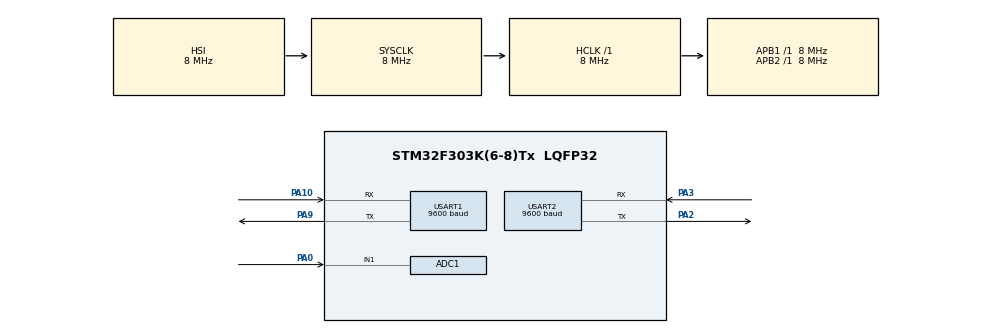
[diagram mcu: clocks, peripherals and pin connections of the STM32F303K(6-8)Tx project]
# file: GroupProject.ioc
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ADC1.ContinuousConvMode=ENABLE
ADC1.NbrOfConversionFlag=1
ADC1.SamplingTimeOPAMP-0\#ChannelRegularConversion=ADC_SAMPLETIME_4CYCLES_5
ADC1.SubFamily=STM32F303x8
ADC1.master=1
Mcu.Family=STM32F3
Mcu.Name=STM32F303K(6-8)Tx
Mcu.Package=LQFP32
NVIC.PriorityGroup=NVIC_PRIORITYGROUP_4
NVIC.RTC_WKUP_IRQn=true\:0\:0\:false\:false\:true\:true\:true\:true
PA0.Signal=SharedAnalog_PA0
PA10.Mode=Asynchronous
PA10.Signal=USART1_RX
PA2.Mode=Asynchronous
PA2.Signal=USART2_TX
PA3.Mode=Asynchronous
PA3.Signal=USART2_RX
PA9.Mode=Asynchronous
PA9.Signal=USART1_TX
ProjectManager.HeapSize=0x200
ProjectManager.StackSize=0x400
ProjectManager.TargetToolchain=STM32CubeIDE
RCC.AHBFreq_Value=8000000
RCC.APB1Freq_Value=8000000
RCC.APB2Freq_Value=8000000
RCC.CortexFreq_Value=8000000
RCC.HSE_VALUE=8000000
RCC.HSI_VALUE=8000000
RCC.PLLMUL=RCC_PLL_MUL4
RCC.SYSCLKFreq_VALUE=8000000
RTC.SynchPrediv=311
RTC.WakeUpCounter=5
SH.SharedAnalog_PA0.0=GPIO_Analog
SH.SharedAnalog_PA0.1=ADC1_IN1,IN1-Single-Ended
USART1.BaudRate=9600
USART1.VirtualMode-Asynchronous=VM_ASYNC
USART2.BaudRate=9600
USART2.VirtualMode-Asynchronous=VM_ASYNC
VP_RTC_VS_RTC_Activate.Mode=RTC_Enabled
VP_RTC_VS_RTC_WakeUp_intern.Mode=WakeUp
board=custom

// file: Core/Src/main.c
/* USER CODE BEGIN Header */
/**
  ******************************************************************************
  * @file           : main.c
  * @brief          : Main program body
  ******************************************************************************
  * @attention
  *
  * Copyright (c) 2024 STMicroelectronics.
  * All rights reserved.
  *
  * This software is licensed under terms that can be found in the LICENSE file
  * in the root directory of this software component.
  * If no LICENSE file comes with this software, it is provided AS-IS.
  *
  ******************************************************************************
  */
/* USER CODE END Header */
#include "main.h"

ADC_HandleTypeDef hadc1;

RTC_HandleTypeDef hrtc;

UART_HandleTypeDef huart1;
UART_HandleTypeDef huart2;

float GAS_ALARM_THRESHOLD_MULTIPLIER = 1.5f;
const char* GAS_ALARM_MESSAGE = "⚠GAS⚠\r\n";
const int WAKEUP_TIMER_SECONDS = 60;

/* USER CODE BEGIN PV */

void print_to_console(const char* message) {
    HAL_UART_Transmit(&huart2, (uint8_t*)message, strlen(message), HAL_MAX_DELAY);
}

void transmit(const char* message) {
    HAL_UART_Transmit(&huart1, (uint8_t*)message, strlen(message), HAL_MAX_DELAY);
}

/* USER CODE END PV */

void SystemClock_Config(void);
static void MX_GPIO_Init(void);
static void MX_ADC1_Init(void);
static void MX_USART2_UART_Init(void);
static void MX_USART1_UART_Init(void);
static void MX_RTC_Init(void);
static void Enter_Stop_Mode(void);

int main(void)
{

  /* MCU Configuration--------------------------------------------------------*/

  /* Reset of all peripherals, Initializes the Flash interface and the Systick. */
  HAL_Init();

  /* Configure the system clock */
  SystemClock_Config();

  /* Initialize all configured peripherals */
  MX_GPIO_Init();
  MX_ADC1_Init();
  MX_USART2_UART_Init();
  MX_USART1_UART_Init();

  /* USER CODE BEGIN 2 */
  HAL_ADC_Start(&hadc1);

  char str[100];
  int gas_level = 0;

  /* USER CODE END 2 */

  /* Infinite loop */
  /* USER CODE BEGIN WHILE */
  int sum_gas_measurements = 0;

  for (int i = 0; i < 100; i++){
	  if (HAL_ADC_PollForConversion(&hadc1, HAL_MAX_DELAY) == HAL_OK) {
		  gas_level = HAL_ADC_GetValue(&hadc1);
	  }

	  sum_gas_measurements += gas_level;

	  HAL_Delay(50);
  }

  int gas_level_baseline = sum_gas_measurements / 100;

  sprintf(str, "Baseline: %d\r\n", (int)(gas_level_baseline * GAS_ALARM_THRESHOLD_MULTIPLIER - gas_level_baseline));
  print_to_console(str);

  MX_RTC_Init();

  while (1)
  {
    /* USER CODE END WHILE */

    /* USER CODE BEGIN 3 */
	  Enter_Stop_Mode();

	  if (HAL_ADC_PollForConversion(&hadc1, HAL_MAX_DELAY) == HAL_OK) {
		  gas_level = HAL_ADC_GetValue(&hadc1) - gas_level_baseline;
	  }

	  if (gas_level >= (gas_level_baseline * GAS_ALARM_THRESHOLD_MULTIPLIER) - gas_level_baseline){
		  transmit(GAS_ALARM_MESSAGE);
		  print_to_console(GAS_ALARM_MESSAGE);
	  }

	  sprintf(str, "%d\r\n", gas_level);
	  print_to_console(str);
  }
  /* USER CODE END 3 */
}

static void Enter_Stop_Mode(void){
	  HAL_PWR_EnterSTOPMode(PWR_LOWPOWERREGULATOR_ON, PWR_STOPENTRY_WFI);
	  SystemClock_Config();
}

void SystemClock_Config(void)
{
  RCC_OscInitTypeDef RCC_OscInitStruct = {0};
  RCC_ClkInitTypeDef RCC_ClkInitStruct = {0};
  RCC_PeriphCLKInitTypeDef PeriphClkInit = {0};

  /** Initializes the RCC Oscillators according to the specified parameters
  * in the RCC_OscInitTypeDef structure.
  */
  RCC_OscInitStruct.OscillatorType = RCC_OSCILLATORTYPE_HSI|RCC_OSCILLATORTYPE_LSI;
  RCC_OscInitStruct.HSIState = RCC_HSI_ON;
  RCC_OscInitStruct.HSICalibrationValue = RCC_HSICALIBRATION_DEFAULT;
  RCC_OscInitStruct.LSIState = RCC_LSI_ON;
  RCC_OscInitStruct.PLL.PLLState = RCC_PLL_ON;
  RCC_OscInitStruct.PLL.PLLSource = RCC_PLLSOURCE_HSI;
  RCC_OscInitStruct.PLL.PLLMUL = RCC_PLL_MUL4;
  if (HAL_RCC_OscConfig(&RCC_OscInitStruct) != HAL_OK)
  {
    Error_Handler();
  }

  /** Initializes the CPU, AHB and APB buses clocks
  */
  RCC_ClkInitStruct.ClockType = RCC_CLOCKTYPE_HCLK|RCC_CLOCKTYPE_SYSCLK
                              |RCC_CLOCKTYPE_PCLK1|RCC_CLOCKTYPE_PCLK2;
  RCC_ClkInitStruct.SYSCLKSource = RCC_SYSCLKSOURCE_HSI;
  RCC_ClkInitStruct.AHBCLKDivider = RCC_SYSCLK_DIV1;
  RCC_ClkInitStruct.APB1CLKDivider = RCC_HCLK_DIV1;
  RCC_ClkInitStruct.APB2CLKDivider = RCC_HCLK_DIV1;

  if (HAL_RCC_ClockConfig(&RCC_ClkInitStruct, FLASH_LATENCY_0) != HAL_OK)
  {
    Error_Handler();
  }
  PeriphClkInit.PeriphClockSelection = RCC_PERIPHCLK_USART1|RCC_PERIPHCLK_RTC
                              |RCC_PERIPHCLK_ADC12;
  PeriphClkInit.Usart1ClockSelection = RCC_USART1CLKSOURCE_PCLK1;
  PeriphClkInit.Adc12ClockSelection = RCC_ADC12PLLCLK_DIV1;
  PeriphClkInit.RTCClockSelection = RCC_RTCCLKSOURCE_LSI;
  if (HAL_RCCEx_PeriphCLKConfig(&PeriphClkInit) != HAL_OK)
  {
    Error_Handler();
  }
}

static void MX_ADC1_Init(void)
{

  ADC_MultiModeTypeDef multimode = {0};
  ADC_ChannelConfTypeDef sConfig = {0};

  /** Common config
  */
  hadc1.Instance = ADC1;
  hadc1.Init.ClockPrescaler = ADC_CLOCK_ASYNC_DIV1;
  hadc1.Init.Resolution = ADC_RESOLUTION_12B;
  hadc1.Init.ScanConvMode = ADC_SCAN_DISABLE;
  hadc1.Init.ContinuousConvMode = ENABLE;
  hadc1.Init.DiscontinuousConvMode = DISABLE;
  hadc1.Init.ExternalTrigConvEdge = ADC_EXTERNALTRIGCONVEDGE_NONE;
  hadc1.Init.ExternalTrigConv = ADC_SOFTWARE_START;
  hadc1.Init.DataAlign = ADC_DATAALIGN_RIGHT;
  hadc1.Init.NbrOfConversion = 1;
  hadc1.Init.DMAContinuousRequests = DISABLE;
  hadc1.Init.EOCSelection = ADC_EOC_SINGLE_CONV;
  hadc1.Init.LowPowerAutoWait = DISABLE;
  hadc1.Init.Overrun = ADC_OVR_DATA_OVERWRITTEN;
  if (HAL_ADC_Init(&hadc1) != HAL_OK)
  {
    Error_Handler();
  }

  /** Configure the ADC multi-mode
  */
  multimode.Mode = ADC_MODE_INDEPENDENT;
  if (HAL_ADCEx_MultiModeConfigChannel(&hadc1, &multimode) != HAL_OK)
  {
    Error_Handler();
  }

  /** Configure Regular Channel
  */
  sConfig.Channel = ADC_CHANNEL_1;
  sConfig.Rank = ADC_REGULAR_RANK_1;
  sConfig.SingleDiff = ADC_SINGLE_ENDED;
  sConfig.SamplingTime = ADC_SAMPLETIME_1CYCLE_5;
  sConfig.OffsetNumber = ADC_OFFSET_NONE;
  sConfig.Offset = 0;
  if (HAL_ADC_ConfigChannel(&hadc1, &sConfig) != HAL_OK)
  {
    Error_Handler();
  }

}

static void MX_RTC_Init(void)
{

  /** Initialize RTC Only
  */
  hrtc.Instance = RTC;
  hrtc.Init.HourFormat = RTC_HOURFORMAT_24;
  hrtc.Init.AsynchPrediv = 127;
  hrtc.Init.SynchPrediv = 311;
  hrtc.Init.OutPut = RTC_OUTPUT_DISABLE;
  hrtc.Init.OutPutPolarity = RTC_OUTPUT_POLARITY_HIGH;
  hrtc.Init.OutPutType = RTC_OUTPUT_TYPE_OPENDRAIN;
  if (HAL_RTC_Init(&hrtc) != HAL_OK)
  {
    Error_Handler();
  }

  /** Enable the WakeUp
  */
  if (HAL_RTCEx_SetWakeUpTimer_IT(&hrtc, WAKEUP_TIMER_SECONDS * 2500, RTC_WAKEUPCLOCK_RTCCLK_DIV16) != HAL_OK)
  {
    Error_Handler();
  }

}

static void MX_USART1_UART_Init(void)
{

  huart1.Instance = USART1;
  huart1.Init.BaudRate = 9600;
  huart1.Init.WordLength = UART_WORDLENGTH_8B;
  huart1.Init.StopBits = UART_STOPBITS_1;
  huart1.Init.Parity = UART_PARITY_NONE;
  huart1.Init.Mode = UART_MODE_TX_RX;
  huart1.Init.HwFlowCtl = UART_HWCONTROL_NONE;
  huart1.Init.OverSampling = UART_OVERSAMPLING_16;
  huart1.Init.OneBitSampling = UART_ONE_BIT_SAMPLE_DISABLE;
  huart1.AdvancedInit.AdvFeatureInit = UART_ADVFEATURE_NO_INIT;
  if (HAL_UART_Init(&huart1) != HAL_OK)
  {
    Error_Handler();
  }

}

static void MX_USART2_UART_Init(void)
{

  huart2.Instance = USART2;
  huart2.Init.BaudRate = 9600;
  huart2.Init.WordLength = UART_WORDLENGTH_8B;
  huart2.Init.StopBits = UART_STOPBITS_1;
  huart2.Init.Parity = UART_PARITY_NONE;
  huart2.Init.Mode = UART_MODE_TX_RX;
  huart2.Init.HwFlowCtl = UART_HWCONTROL_NONE;
  huart2.Init.OverSampling = UART_OVERSAMPLING_16;
  huart2.Init.OneBitSampling = UART_ONE_BIT_SAMPLE_DISABLE;
  huart2.AdvancedInit.AdvFeatureInit = UART_ADVFEATURE_NO_INIT;
  if (HAL_UART_Init(&huart2) != HAL_OK)
  {
    Error_Handler();
  }

}

static void MX_GPIO_Init(void)
{

  /* GPIO Ports Clock Enable */
  __HAL_RCC_GPIOA_CLK_ENABLE();

}

void Error_Handler(void)
{
  __disable_irq();
  while (1)
  {
  }
}
